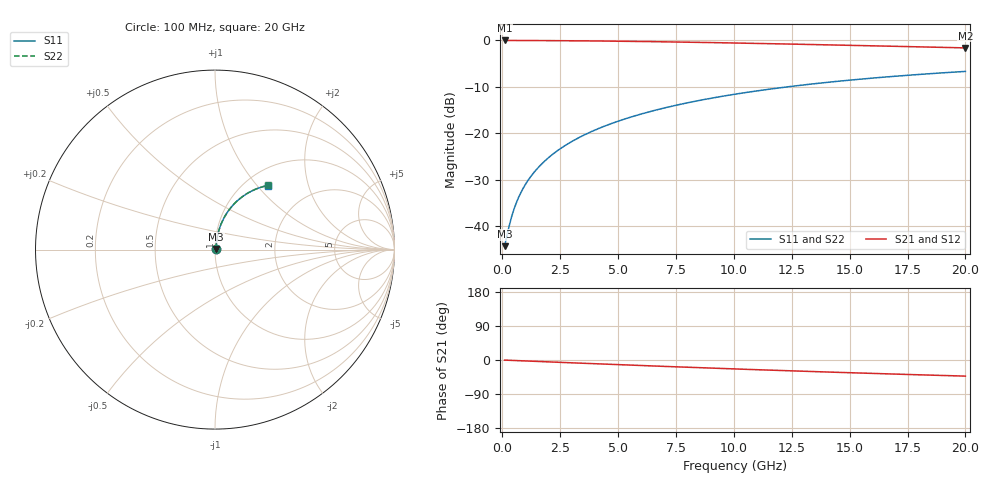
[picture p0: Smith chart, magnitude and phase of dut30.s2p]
! Touchstone file exported from HFSS 2024.1.0
!  File:  C:/UserFiles/LocalFiles/RDL_TSV_Batchsim/temp_RDL_bottom_30_1778692106.aedt
!  Generated:  01:11:07 AM May 14, 2026
!  Design:  RDL_bottom
!  Project:  temp_RDL_bottom_30_1778692106
!  Setup:  Setup1
!  Solution:  Sweep
! Variables:
!  dtsv = 10.80580581um
!  hbump = 3um
!  htsv = 79.12um
!  ldown = 564.61um
!  lrdl = 100um
!  p = 40
!  p1 = 43.84um
!  rhole = 1um
!  t = 450um
!  tdown = 2.95um
!  trdl = 3.915915916um
!  wdown = 12.64um
!  wrdl = 20um
# GHz S MA R 50.000000
! Terminal data exported
! Port[1] = RDL1_T1
! Port[2] = RDL1_T2
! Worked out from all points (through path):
!   200 points, 100 MHz to 20 GHz, reference 50 ohm
!   highest |S21| = -0.05 dB at 100 MHz (marker M1); lowest = -1.6 dB at 20 GHz (marker M2)
!   group delay of S21, straight-line fit = 5.91 ps
!   lowest |S11| = -44.2 dB at 100 MHz (marker M3), VSWR 1.01, Z = 50.5 + j0.288 ohm
!   |S11| at or under -10 dB: start of sweep to 12.33 GHz
!   |S22| runs from -44.2 to -6.7 dB; largest |S21 - S12| = 2.7e-15
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0.1  0.006144 27.6  0.9946 -0.3  0.9946 -0.3  0.006144 27.6
! Gamma 0 0 0 0
! Port Impedance 50 0 50 0
0.3  0.01019 56.2  0.9944 -0.8  0.9944 -0.8  0.01019 56.2
0.4  0.01266 62.6  0.9942 -1.0  0.9942 -1.0  0.01266 62.6
0.5  0.01522 66.7  0.994 -1.3  0.994 -1.3  0.01522 66.7
0.6  0.01781 69.6  0.9939 -1.5  0.9939 -1.5  0.01781 69.6
0.7  0.02042 71.7  0.9937 -1.8  0.9937 -1.8  0.02042 71.7
0.9  0.02567 74.5  0.9933 -2.3  0.9933 -2.3  0.02567 74.5
1.2  0.0336 76.9  0.9927 -3.0  0.9927 -3.0  0.0336 76.9
1.4  0.03891 77.9  0.9923 -3.5  0.9923 -3.5  0.03891 77.9
1.7  0.0469 78.8  0.9915 -4.2  0.9915 -4.2  0.0469 78.8
2.2  0.06026 79.5  0.9901 -5.5  0.9901 -5.5  0.06026 79.5
2.8  0.07633 79.6  0.9879 -6.9  0.9879 -6.9  0.07633 79.6
3.5  0.09508 79.1  0.9849 -8.6  0.9849 -8.6  0.09508 79.1
4.2  0.1138 78.3  0.9812 -10.3  0.9812 -10.3  0.1138 78.4
5  0.135 77.2  0.9764 -12.2  0.9764 -12.2  0.135 77.2
5.9  0.1588 75.8  0.9702 -14.3  0.9702 -14.3  0.1588 75.8
6.8  0.1822 74.3  0.9633 -16.4  0.9633 -16.4  0.1822 74.3
8.3  0.2204 71.5  0.9505 -19.8  0.9505 -19.8  0.2204 71.6
10.1  0.2646 68.2  0.9335 -23.7  0.9335 -23.7  0.2646 68.2
13.4  0.3395 62.0  0.8993 -30.5  0.8993 -30.5  0.3396 62.0
16.7  0.4057 56.1  0.8634 -36.7  0.8634 -36.7  0.4057 56.1
20  0.4627 50.5  0.8276 -42.5  0.8276 -42.5  0.4628 50.5
